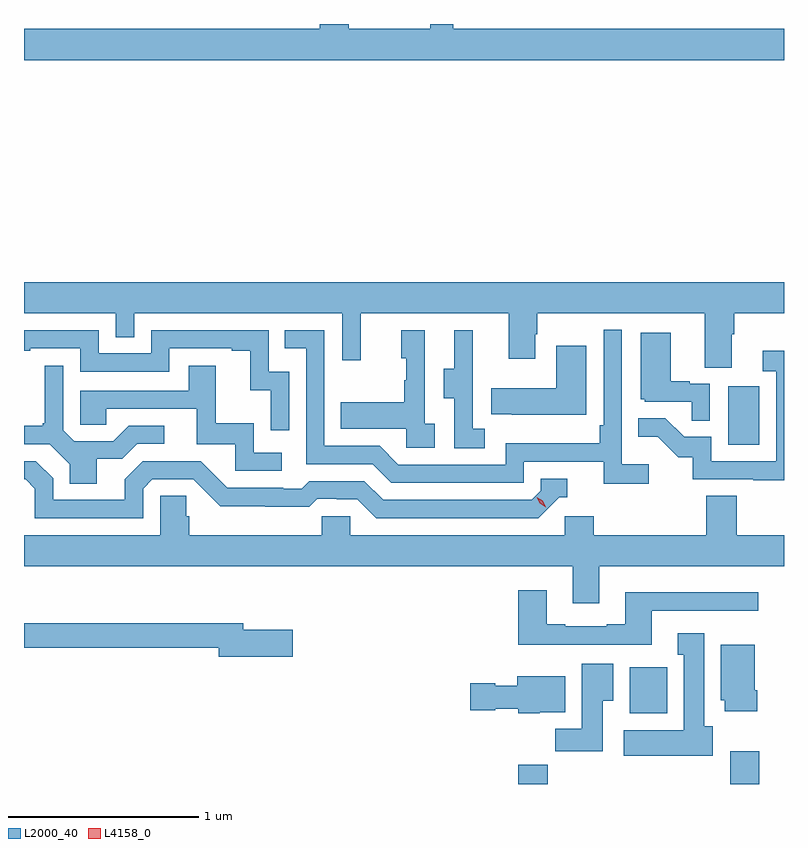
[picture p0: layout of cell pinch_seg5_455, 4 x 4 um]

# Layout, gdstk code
import gdstk
lib = gdstk.Library(unit=1e-6, precision=1e-09)
def R(c, l, rs):  # rectangles x0, y0, x1, y1
    for r in rs: c.add(gdstk.rectangle(r[:2], r[2:], *l))
def P(c, l, *ps):  # polygons
    for p in ps: c.add(gdstk.Polygon(p, *l))
L2000_40 = (2000, 40)
L4158_0 = (4158, 0)

pinch_seg5_455 = lib.new_cell('pinch_seg5_455')
R(pinch_seg5_455, L2000_40, [(929.933,854.282,930.089,854.384), (931.049,854.282,931.202,854.455), (930.521,854.654,930.718,854.896), (931.04,856.068,931.204,856.375)])
P(pinch_seg5_455, L2000_40, [(931.333,858.256),(929.593,858.256),(929.593,858.282),(929.471,858.282),(929.471,858.256),(929.041,858.256),(929.041,858.282),(928.889,858.282),(928.889,858.256),(927.333,858.256),(927.333,858.092),(931.333,858.092)],
  [(927.333,856.76),(927.816,856.76),(927.816,856.633),(927.912,856.633),(927.912,856.76),(929.007,856.76),(929.007,856.512),(929.105,856.512),(929.105,856.76),(929.885,856.76),(929.885,856.521),(930.025,856.521),(930.025,856.649),(930.033,856.649),(930.033,856.76),(930.917,856.76),(930.917,856.474),(931.057,856.474),(931.057,856.648),(931.07,856.648),(931.07,856.76),(931.333,856.76),(931.333,856.924),(927.333,856.924)],
  [(930.622,855.964),(930.48,855.964),(930.48,856.672),(930.384,856.672),(930.384,856.171),(930.364,856.171),(930.364,856.075),(929.868,856.075),(929.868,855.963),(929.304,855.963),(929.205,856.062),(928.914,856.062),(928.914,856.671),(928.705,856.671),(928.705,856.575),(928.818,856.575),(928.818,855.966),(929.168,855.966),(929.267,855.867),(929.964,855.867),(929.964,855.978),(930.383,855.978),(930.383,855.862),(930.622,855.862)],
  [(928.728,856.452),(928.62,856.452),(928.62,856.671),(928.002,856.671),(928.002,856.548),(927.726,856.548),(927.726,856.671),(927.333,856.671),(927.333,856.563),(927.367,856.563),(927.367,856.575),(927.63,856.575),(927.63,856.452),(928.098,856.452),(928.098,856.575),(928.427,856.575),(928.427,856.563),(928.523,856.563),(928.523,856.355),(928.632,856.355),(928.632,856.143),(928.728,856.143)],
  [(929.758,856.151),(929.694,856.151),(929.694,856.455),(929.696,856.455),(929.696,856.669),(929.597,856.669),(929.597,856.467),(929.543,856.467),(929.543,856.312),(929.598,856.312),(929.598,856.048),(929.758,856.048)],
  [(929.494,856.178),(929.442,856.178),(929.442,856.669),(929.318,856.669),(929.318,856.524),(929.344,856.524),(929.344,856.406),(929.334,856.406),(929.334,856.291),(928.999,856.291),(928.999,856.151),(929.346,856.151),(929.346,856.053),(929.494,856.053)],
  [(930.942,856.389),(930.836,856.389),(930.836,856.402),(930.736,856.402),(930.736,856.657),(930.578,856.657),(930.578,856.308),(930.6,856.308),(930.6,856.293),(930.847,856.293),(930.847,856.195),(930.942,856.195)],
  [(930.292,856.588),(930.134,856.588),(930.134,856.366),(929.791,856.366),(929.791,856.229),(929.899,856.229),(929.899,856.226),(930.292,856.226)],
  [(931.333,856.561),(931.221,856.561),(931.221,856.455),(931.293,856.455),(931.293,855.981),(930.951,855.981),(930.951,856.11),(930.807,856.11),(930.709,856.208),(930.565,856.208),(930.565,856.109),(930.669,856.109),(930.776,856.002),(930.853,856.002),(930.853,855.885),(931.171,855.885),(931.171,855.88),(931.333,855.88)],
  [(927.715,855.994),(927.85,855.994),(927.93,856.074),(928.072,856.074),(928.072,856.167),(927.884,856.167),(927.803,856.086),(927.597,856.086),(927.54,856.143),(927.54,856.483),(927.443,856.483),(927.443,856.18),(927.432,856.18),(927.432,856.168),(927.333,856.168),(927.333,856.071),(927.468,856.071),(927.575,855.964),(927.575,855.862),(927.715,855.862)],
  [(928.69,856.026),(928.542,856.026),(928.542,856.18),(928.343,856.18),(928.343,856.483),(928.199,856.483),(928.199,856.353),(927.63,856.353),(927.63,856.173),(927.767,856.173),(927.767,856.257),(928.241,856.257),(928.241,856.071),(928.446,856.071),(928.446,855.93),(928.69,855.93)],
  [(927.96,855.837),(928.008,855.885),(928.224,855.885),(928.366,855.743),(928.602,855.743),(928.602,855.741),(928.835,855.741),(928.877,855.783),(928.98,855.783),(928.98,855.78),(929.087,855.78),(929.186,855.681),(930.039,855.681),(930.15,855.792),(930.193,855.792),(930.193,855.888),(930.054,855.888),(930.054,855.825),(930.006,855.777),(929.223,855.777),(929.124,855.876),(928.835,855.876),(928.796,855.837),(928.697,855.837),(928.697,855.84),(928.404,855.84),(928.263,855.981),(927.957,855.981),(927.863,855.887),(927.863,855.777),(927.486,855.777),(927.486,855.891),(927.396,855.981),(927.333,855.981),(927.333,855.885),(927.342,855.885),(927.39,855.837),(927.39,855.681),(927.96,855.681)],
  [(930.361,855.428),(931.333,855.428),(931.333,855.592),(931.083,855.592),(931.083,855.8),(930.923,855.8),(930.923,855.592),(930.332,855.592),(930.332,855.69),(930.18,855.69),(930.18,855.592),(929.049,855.592),(929.049,855.69),(928.899,855.69),(928.899,855.592),(928.202,855.592),(928.202,855.69),(928.187,855.69),(928.187,855.8),(928.05,855.8),(928.05,855.592),(927.333,855.592),(927.333,855.428),(930.221,855.428),(930.221,855.234),(930.361,855.234)],
  [(930.173,855.015),(930.637,855.015),(930.637,855.195),(931.198,855.195),(931.198,855.292),(930.497,855.292),(930.497,855.124),(930.401,855.124),(930.401,855.111),(930.181,855.111),(930.181,855.124),(930.085,855.124),(930.085,855.301),(929.933,855.301),(929.933,855.014),(930.173,855.014)],
  [(928.747,855.093),(928.486,855.093),(928.486,855.127),(927.333,855.127),(927.333,854.998),(928.358,854.998),(928.358,854.951),(928.747,854.951)],
  [(930.958,854.586),(930.913,854.586),(930.913,855.076),(930.773,855.076),(930.773,854.963),(930.806,854.963),(930.806,854.566),(930.489,854.566),(930.489,854.432),(930.958,854.432)],
  [(931.193,854.776),(931.18,854.776),(931.18,855.016),(931.001,855.016),(931.001,854.724),(931.022,854.724),(931.022,854.664),(931.193,854.664)],
  [(930.379,854.72),(930.433,854.72),(930.433,854.914),(930.269,854.914),(930.269,854.572),(930.13,854.572),(930.13,854.454),(930.379,854.454)],
  [(930.048,854.66),(930.181,854.66),(930.181,854.848),(929.93,854.848),(929.93,854.8),(929.814,854.8),(929.814,854.813),(929.682,854.813),(929.682,854.671),(929.814,854.671),(929.814,854.678),(929.934,854.678),(929.934,854.654),(930.048,854.654)])
P(pinch_seg5_455, L4158_0, [(930.078,855.739),(930.047,855.759),(930.031,855.792),(930.031,855.792),(930.031,855.792),(930.062,855.772),(930.078,855.74),(930.078,855.739)])

lib.write_gds('pinch_seg5_455.gds')
